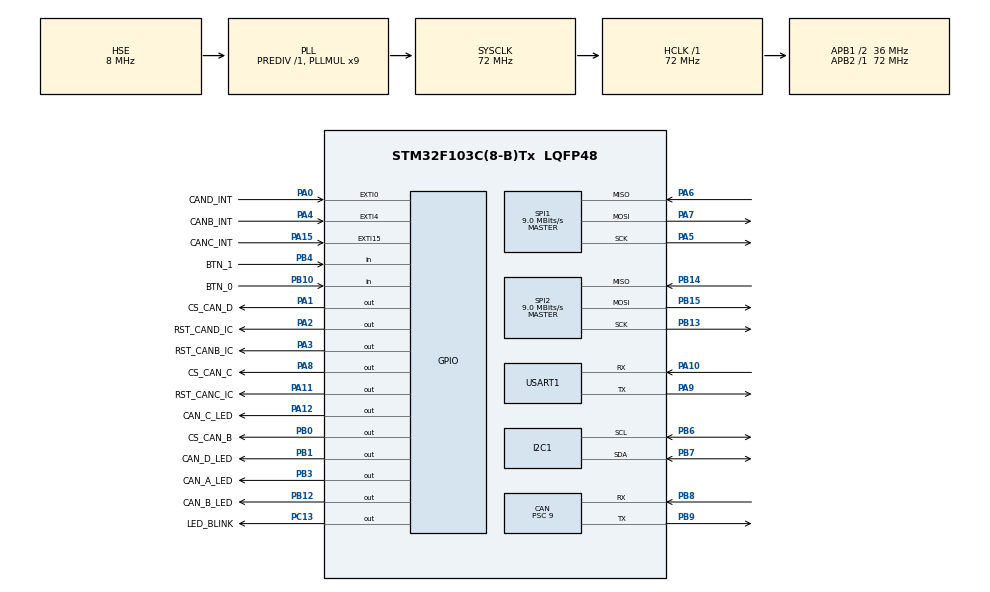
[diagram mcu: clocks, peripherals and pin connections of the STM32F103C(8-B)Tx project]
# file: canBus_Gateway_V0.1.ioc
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CAN.BS1=CAN_BS1_3TQ
CAN.BS2=CAN_BS2_4TQ
CAN.CalculateBaudRate=500000
CAN.CalculateTimeBit=2000
CAN.CalculateTimeQuantum=250.0
CAN.Prescaler=9
CAN.SJW=CAN_SJW_2TQ
I2C1.I2C_Mode=I2C_Fast
Mcu.Family=STM32F1
Mcu.Name=STM32F103C(8-B)Tx
Mcu.Package=LQFP48
NVIC.EXTI0_IRQn=true\:0\:0\:false\:false\:true\:true\:true\:true
NVIC.EXTI15_10_IRQn=true\:0\:0\:false\:false\:true\:true\:true\:true
NVIC.EXTI4_IRQn=true\:0\:0\:false\:false\:true\:true\:true\:true
NVIC.PriorityGroup=NVIC_PRIORITYGROUP_4
NVIC.USB_LP_CAN1_RX0_IRQn=true\:0\:0\:false\:false\:true\:true\:true\:true
PA0-WKUP.GPIO_Label=CAND_INT
PA0-WKUP.GPIO_ModeDefaultEXTI=GPIO_MODE_IT_FALLING
PA0-WKUP.Signal=GPXTI0
PA1.GPIO_Label=CS_CAN_D
PA1.PinState=GPIO_PIN_SET
PA1.Signal=GPIO_Output
PA10.Mode=Asynchronous
PA10.Signal=USART1_RX
PA11.GPIO_Label=RST_CANC_IC
PA11.PinState=GPIO_PIN_SET
PA11.Signal=GPIO_Output
PA12.GPIO_Label=CAN_C_LED
PA12.Signal=GPIO_Output
PA13.Mode=Serial_Wire
PA13.Signal=SYS_JTMS-SWDIO
PA14.Mode=Serial_Wire
PA14.Signal=SYS_JTCK-SWCLK
PA15.GPIO_Label=CANC_INT
PA15.GPIO_ModeDefaultEXTI=GPIO_MODE_IT_FALLING
PA15.Signal=GPXTI15
PA2.GPIO_Label=RST_CAND_IC
PA2.PinState=GPIO_PIN_SET
PA2.Signal=GPIO_Output
PA3.GPIO_Label=RST_CANB_IC
PA3.PinState=GPIO_PIN_SET
PA3.Signal=GPIO_Output
PA4.GPIO_Label=CANB_INT
PA4.GPIO_ModeDefaultEXTI=GPIO_MODE_IT_FALLING
PA4.Signal=GPXTI4
PA5.Mode=Full_Duplex_Master
PA5.Signal=SPI1_SCK
PA6.Mode=Full_Duplex_Master
PA6.Signal=SPI1_MISO
PA7.Mode=Full_Duplex_Master
PA7.Signal=SPI1_MOSI
PA8.GPIO_Label=CS_CAN_C
PA8.PinState=GPIO_PIN_SET
PA8.Signal=GPIO_Output
PA9.Mode=Asynchronous
PA9.Signal=USART1_TX
PB0.GPIO_Label=CS_CAN_B
PB0.PinState=GPIO_PIN_SET
PB0.Signal=GPIO_Output
PB1.GPIO_Label=CAN_D_LED
PB1.Signal=GPIO_Output
PB10.GPIO_Label=BTN_0
PB10.Signal=GPIO_Input
PB12.GPIO_Label=CAN_B_LED
PB12.Signal=GPIO_Output
PB13.Mode=Full_Duplex_Master
PB13.Signal=SPI2_SCK
PB14.Mode=Full_Duplex_Master
PB14.Signal=SPI2_MISO
PB15.Mode=Full_Duplex_Master
PB15.Signal=SPI2_MOSI
PB3.GPIO_Label=CAN_A_LED
PB3.Signal=GPIO_Output
PB4.GPIO_Label=BTN_1
PB4.Signal=GPIO_Input
PB6.Mode=I2C
PB6.Signal=I2C1_SCL
PB7.Mode=I2C
PB7.Signal=I2C1_SDA
PB8.Mode=CAN_Activate
PB8.Signal=CAN_RX
PB9.Mode=CAN_Activate
PB9.Signal=CAN_TX
PC13-TAMPER-RTC.GPIO_Label=LED_BLINK
PC13-TAMPER-RTC.Signal=GPIO_Output
PD0-OSC_IN.Mode=HSE-External-Oscillator
PD0-OSC_IN.Signal=RCC_OSC_IN
PD1-OSC_OUT.Mode=HSE-External-Oscillator
PD1-OSC_OUT.Signal=RCC_OSC_OUT
ProjectManager.HeapSize=0x200
ProjectManager.StackSize=0x400
ProjectManager.TargetToolchain=STM32CubeIDE
RCC.AHBFreq_Value=72000000
RCC.APB1CLKDivider=RCC_HCLK_DIV2
RCC.APB1Freq_Value=36000000
RCC.APB1TimFreq_Value=72000000
RCC.APB2Freq_Value=72000000
RCC.APB2TimFreq_Value=72000000
RCC.HCLKFreq_Value=72000000
RCC.PLLMUL=RCC_PLL_MUL9
RCC.PLLSourceVirtual=RCC_PLLSOURCE_HSE
RCC.SYSCLKFreq_VALUE=72000000
RCC.SYSCLKSource=RCC_SYSCLKSOURCE_PLLCLK
RCC.USBFreq_Value=72000000
SPI1.BaudRatePrescaler=SPI_BAUDRATEPRESCALER_8
SPI1.CalculateBaudRate=9.0 MBits/s
SPI1.Direction=SPI_DIRECTION_2LINES
SPI1.Mode=SPI_MODE_MASTER
SPI1.VirtualType=VM_MASTER
SPI2.BaudRatePrescaler=SPI_BAUDRATEPRESCALER_4
SPI2.CalculateBaudRate=9.0 MBits/s
SPI2.Direction=SPI_DIRECTION_2LINES
SPI2.Mode=SPI_MODE_MASTER
SPI2.VirtualType=VM_MASTER
USART1.VirtualMode=VM_ASYNC
board=custom

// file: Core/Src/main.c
/* USER CODE BEGIN Header */
/**
  ******************************************************************************
  * @file           : main.c
  * @brief          : Main program body
  ******************************************************************************
  * @attention
  *
  * Copyright (c) 2023 STMicroelectronics.
  * All rights reserved.
  *
  * This software is licensed under terms that can be found in the LICENSE file
  * in the root directory of this software component.
  * If no LICENSE file comes with this software, it is provided AS-IS.
  *
  ******************************************************************************
  */
/* USER CODE END Header */
#include "main.h"

/* USER CODE BEGIN Includes */
#include "debug.h"
#include "torkTypes.h"
#include "basicApp.h"
#include "24lc01Eeprom.h"
#include "mcp2515_hardware.h"
#include "mcp2515_drv.h"

/* USER CODE END Includes */

/* USER CODE BEGIN PTD */
typedef struct CanMsg__Struct
{
  unsigned long  canMsgId;
  unsigned char  ext;
  unsigned char  rtr;
  unsigned char  len;
  unsigned char  dataBuf[8];
}torkCanMsg;
/* USER CODE END PTD */

CAN_HandleTypeDef hcan;

I2C_HandleTypeDef hi2c1;

SPI_HandleTypeDef hspi1;
SPI_HandleTypeDef hspi2;

UART_HandleTypeDef huart1;

/* USER CODE BEGIN PV */
// for led blink
uint32_t period_of_led_blink = _1_SECOND;
uint32_t last_time = 0;

// for CanA comm
CAN_TxHeaderTypeDef txHeader;  //CAN Bus Receive Header
CAN_RxHeaderTypeDef rxHeader;  //CAN Bus Receive Header
CAN_FilterTypeDef canfil;      //CAN Bus Filter
uint32_t canMailbox;           //CAN Bus Mail box variable

// irq flags
volatile uint8_t isCAN_A_RXed = 0;
volatile uint8_t isCAN_B_RXed = 0;
volatile uint8_t isCAN_C_RXed = 0;
volatile uint8_t isCAN_D_RXed = 0;

//... for test
torkCanMsg tmpCanMsg;//... for test

/* USER CODE END PV */

void SystemClock_Config(void);
static void MX_GPIO_Init(void);
static void MX_USART1_UART_Init(void);
static void MX_CAN_Init(void);
static void MX_I2C1_Init(void);
static void MX_SPI1_Init(void);
static void MX_SPI2_Init(void);

int main(void)
{

  /* MCU Configuration--------------------------------------------------------*/

  /* Reset of all peripherals, Initializes the Flash interface and the Systick. */
  HAL_Init();

  /* Configure the system clock */
  SystemClock_Config();

  /* Initialize all configured peripherals */
  MX_GPIO_Init();
  MX_USART1_UART_Init();
  MX_CAN_Init();
  MX_I2C1_Init();
  MX_SPI1_Init();
  MX_SPI2_Init();
  /* USER CODE BEGIN 2 */
  debugPrint("/* USER CODE BEGIN 2 */\n");

  Init_CanA();
  Init_Eeprom();
  Init_CanB();
  Init_CanC();
  Init_CanD();

  debugPrint("/* USER CODE  END  2 */\n");
  /* USER CODE END 2 */

  /* Infinite loop */
  /* USER CODE BEGIN WHILE */
  while (1)
  {
	  if(isCAN_A_RXed == 1)
	  {
		  isCAN_A_RXed = 0;

		  debugPrint("AAA\n");
	  }

	  if(isCAN_B_RXed == 1)
	  {
		  isCAN_B_RXed = 0;

		  debugPrint("BBB\n");
	  }

	  if(isCAN_C_RXed == 1)
	  {
		  isCAN_C_RXed = 0;

		  debugPrint("CCC\n");
	  }

	  if(isCAN_D_RXed == 1)
	  {
		  isCAN_D_RXed = 0;

		  debugPrint("DDD\n");
	  }

    /* USER CODE END WHILE */

    /* USER CODE BEGIN 3 */
	  if(HAL_GetTick() - last_time > period_of_led_blink)
	  {
		  last_time = HAL_GetTick();

		  HAL_GPIO_TogglePin(LED_BLINK_GPIO_Port, LED_BLINK_Pin);
	  }
  }
  /* USER CODE END 3 */
}

void SystemClock_Config(void)
{
  RCC_OscInitTypeDef RCC_OscInitStruct = {0};
  RCC_ClkInitTypeDef RCC_ClkInitStruct = {0};

  /** Initializes the RCC Oscillators according to the specified parameters
  * in the RCC_OscInitTypeDef structure.
  */
  RCC_OscInitStruct.OscillatorType = RCC_OSCILLATORTYPE_HSE;
  RCC_OscInitStruct.HSEState = RCC_HSE_ON;
  RCC_OscInitStruct.HSEPredivValue = RCC_HSE_PREDIV_DIV1;
  RCC_OscInitStruct.HSIState = RCC_HSI_ON;
  RCC_OscInitStruct.PLL.PLLState = RCC_PLL_ON;
  RCC_OscInitStruct.PLL.PLLSource = RCC_PLLSOURCE_HSE;
  RCC_OscInitStruct.PLL.PLLMUL = RCC_PLL_MUL9;
  if (HAL_RCC_OscConfig(&RCC_OscInitStruct) != HAL_OK)
  {
    Error_Handler();
  }

  /** Initializes the CPU, AHB and APB buses clocks
  */
  RCC_ClkInitStruct.ClockType = RCC_CLOCKTYPE_HCLK|RCC_CLOCKTYPE_SYSCLK
                              |RCC_CLOCKTYPE_PCLK1|RCC_CLOCKTYPE_PCLK2;
  RCC_ClkInitStruct.SYSCLKSource = RCC_SYSCLKSOURCE_PLLCLK;
  RCC_ClkInitStruct.AHBCLKDivider = RCC_SYSCLK_DIV1;
  RCC_ClkInitStruct.APB1CLKDivider = RCC_HCLK_DIV2;
  RCC_ClkInitStruct.APB2CLKDivider = RCC_HCLK_DIV1;

  if (HAL_RCC_ClockConfig(&RCC_ClkInitStruct, FLASH_LATENCY_2) != HAL_OK)
  {
    Error_Handler();
  }
}

static void MX_CAN_Init(void)
{

  hcan.Instance = CAN1;
  hcan.Init.Prescaler = 9;
  hcan.Init.Mode = CAN_MODE_NORMAL;
  hcan.Init.SyncJumpWidth = CAN_SJW_2TQ;
  hcan.Init.TimeSeg1 = CAN_BS1_3TQ;
  hcan.Init.TimeSeg2 = CAN_BS2_4TQ;
  hcan.Init.TimeTriggeredMode = DISABLE;
  hcan.Init.AutoBusOff = DISABLE;
  hcan.Init.AutoWakeUp = DISABLE;
  hcan.Init.AutoRetransmission = DISABLE;
  hcan.Init.ReceiveFifoLocked = DISABLE;
  hcan.Init.TransmitFifoPriority = DISABLE;
  if (HAL_CAN_Init(&hcan) != HAL_OK)
  {
    Error_Handler();
  }

}

static void MX_I2C1_Init(void)
{

  hi2c1.Instance = I2C1;
  hi2c1.Init.ClockSpeed = 400000;
  hi2c1.Init.DutyCycle = I2C_DUTYCYCLE_2;
  hi2c1.Init.OwnAddress1 = 0;
  hi2c1.Init.AddressingMode = I2C_ADDRESSINGMODE_7BIT;
  hi2c1.Init.DualAddressMode = I2C_DUALADDRESS_DISABLE;
  hi2c1.Init.OwnAddress2 = 0;
  hi2c1.Init.GeneralCallMode = I2C_GENERALCALL_DISABLE;
  hi2c1.Init.NoStretchMode = I2C_NOSTRETCH_DISABLE;
  if (HAL_I2C_Init(&hi2c1) != HAL_OK)
  {
    Error_Handler();
  }

}

static void MX_SPI1_Init(void)
{

  /* SPI1 parameter configuration*/
  hspi1.Instance = SPI1;
  hspi1.Init.Mode = SPI_MODE_MASTER;
  hspi1.Init.Direction = SPI_DIRECTION_2LINES;
  hspi1.Init.DataSize = SPI_DATASIZE_8BIT;
  hspi1.Init.CLKPolarity = SPI_POLARITY_LOW;
  hspi1.Init.CLKPhase = SPI_PHASE_1EDGE;
  hspi1.Init.NSS = SPI_NSS_SOFT;
  hspi1.Init.BaudRatePrescaler = SPI_BAUDRATEPRESCALER_8;
  hspi1.Init.FirstBit = SPI_FIRSTBIT_MSB;
  hspi1.Init.TIMode = SPI_TIMODE_DISABLE;
  hspi1.Init.CRCCalculation = SPI_CRCCALCULATION_DISABLE;
  hspi1.Init.CRCPolynomial = 10;
  if (HAL_SPI_Init(&hspi1) != HAL_OK)
  {
    Error_Handler();
  }

}

static void MX_SPI2_Init(void)
{

  /* SPI2 parameter configuration*/
  hspi2.Instance = SPI2;
  hspi2.Init.Mode = SPI_MODE_MASTER;
  hspi2.Init.Direction = SPI_DIRECTION_2LINES;
  hspi2.Init.DataSize = SPI_DATASIZE_8BIT;
  hspi2.Init.CLKPolarity = SPI_POLARITY_LOW;
  hspi2.Init.CLKPhase = SPI_PHASE_1EDGE;
  hspi2.Init.NSS = SPI_NSS_SOFT;
  hspi2.Init.BaudRatePrescaler = SPI_BAUDRATEPRESCALER_4;
  hspi2.Init.FirstBit = SPI_FIRSTBIT_MSB;
  hspi2.Init.TIMode = SPI_TIMODE_DISABLE;
  hspi2.Init.CRCCalculation = SPI_CRCCALCULATION_DISABLE;
  hspi2.Init.CRCPolynomial = 10;
  if (HAL_SPI_Init(&hspi2) != HAL_OK)
  {
    Error_Handler();
  }

}

static void MX_USART1_UART_Init(void)
{

  huart1.Instance = USART1;
  huart1.Init.BaudRate = 115200;
  huart1.Init.WordLength = UART_WORDLENGTH_8B;
  huart1.Init.StopBits = UART_STOPBITS_1;
  huart1.Init.Parity = UART_PARITY_NONE;
  huart1.Init.Mode = UART_MODE_TX_RX;
  huart1.Init.HwFlowCtl = UART_HWCONTROL_NONE;
  huart1.Init.OverSampling = UART_OVERSAMPLING_16;
  if (HAL_UART_Init(&huart1) != HAL_OK)
  {
    Error_Handler();
  }

}

static void MX_GPIO_Init(void)
{
  GPIO_InitTypeDef GPIO_InitStruct = {0};

  /* GPIO Ports Clock Enable */
  __HAL_RCC_GPIOC_CLK_ENABLE();
  __HAL_RCC_GPIOD_CLK_ENABLE();
  __HAL_RCC_GPIOA_CLK_ENABLE();
  __HAL_RCC_GPIOB_CLK_ENABLE();

  /*Configure GPIO pin Output Level */
  HAL_GPIO_WritePin(LED_BLINK_GPIO_Port, LED_BLINK_Pin, GPIO_PIN_RESET);

  /*Configure GPIO pin Output Level */
  HAL_GPIO_WritePin(GPIOA, CS_CAN_D_Pin|RST_CAND_IC_Pin|RST_CANB_IC_Pin|CS_CAN_C_Pin
                          |RST_CANC_IC_Pin, GPIO_PIN_SET);

  /*Configure GPIO pin Output Level */
  HAL_GPIO_WritePin(CS_CAN_B_GPIO_Port, CS_CAN_B_Pin, GPIO_PIN_SET);

  /*Configure GPIO pin Output Level */
  HAL_GPIO_WritePin(GPIOB, CAN_D_LED_Pin|CAN_B_LED_Pin|CAN_A_LED_Pin, GPIO_PIN_RESET);

  /*Configure GPIO pin Output Level */
  HAL_GPIO_WritePin(CAN_C_LED_GPIO_Port, CAN_C_LED_Pin, GPIO_PIN_RESET);

  /*Configure GPIO pin : LED_BLINK_Pin */
  GPIO_InitStruct.Pin = LED_BLINK_Pin;
  GPIO_InitStruct.Mode = GPIO_MODE_OUTPUT_PP;
  GPIO_InitStruct.Pull = GPIO_NOPULL;
  GPIO_InitStruct.Speed = GPIO_SPEED_FREQ_LOW;
  HAL_GPIO_Init(LED_BLINK_GPIO_Port, &GPIO_InitStruct);

  /*Configure GPIO pins : CAND_INT_Pin CANB_INT_Pin CANC_INT_Pin */
  GPIO_InitStruct.Pin = CAND_INT_Pin|CANB_INT_Pin|CANC_INT_Pin;
  GPIO_InitStruct.Mode = GPIO_MODE_IT_FALLING;
  GPIO_InitStruct.Pull = GPIO_NOPULL;
  HAL_GPIO_Init(GPIOA, &GPIO_InitStruct);

  /*Configure GPIO pins : CS_CAN_D_Pin RST_CAND_IC_Pin RST_CANB_IC_Pin CS_CAN_C_Pin
                           RST_CANC_IC_Pin CAN_C_LED_Pin */
  GPIO_InitStruct.Pin = CS_CAN_D_Pin|RST_CAND_IC_Pin|RST_CANB_IC_Pin|CS_CAN_C_Pin
                          |RST_CANC_IC_Pin|CAN_C_LED_Pin;
  GPIO_InitStruct.Mode = GPIO_MODE_OUTPUT_PP;
  GPIO_InitStruct.Pull = GPIO_NOPULL;
  GPIO_InitStruct.Speed = GPIO_SPEED_FREQ_LOW;
  HAL_GPIO_Init(GPIOA, &GPIO_InitStruct);

  /*Configure GPIO pins : CS_CAN_B_Pin CAN_D_LED_Pin CAN_B_LED_Pin CAN_A_LED_Pin */
  GPIO_InitStruct.Pin = CS_CAN_B_Pin|CAN_D_LED_Pin|CAN_B_LED_Pin|CAN_A_LED_Pin;
  GPIO_InitStruct.Mode = GPIO_MODE_OUTPUT_PP;
  GPIO_InitStruct.Pull = GPIO_NOPULL;
  GPIO_InitStruct.Speed = GPIO_SPEED_FREQ_LOW;
  HAL_GPIO_Init(GPIOB, &GPIO_InitStruct);

  /*Configure GPIO pins : BTN_0_Pin BTN_1_Pin */
  GPIO_InitStruct.Pin = BTN_0_Pin|BTN_1_Pin;
  GPIO_InitStruct.Mode = GPIO_MODE_INPUT;
  GPIO_InitStruct.Pull = GPIO_NOPULL;
  HAL_GPIO_Init(GPIOB, &GPIO_InitStruct);

  /* EXTI interrupt init*/
  HAL_NVIC_SetPriority(EXTI0_IRQn, 0, 0);
  HAL_NVIC_EnableIRQ(EXTI0_IRQn);

  HAL_NVIC_SetPriority(EXTI4_IRQn, 0, 0);
  HAL_NVIC_EnableIRQ(EXTI4_IRQn);

  HAL_NVIC_SetPriority(EXTI15_10_IRQn, 0, 0);
  HAL_NVIC_EnableIRQ(EXTI15_10_IRQn);

}

/* USER CODE BEGIN 4 */
void HAL_GPIO_EXTI_Callback(uint16_t GPIO_Pin)
{
	if(GPIO_Pin == CANB_INT_Pin)
	{
		isCAN_B_RXed = 1;
		HAL_GPIO_TogglePin(CAN_B_LED_GPIO_Port, CAN_B_LED_Pin);
	}
	else if(GPIO_Pin == CANC_INT_Pin)
	{
		isCAN_C_RXed = 1;
		HAL_GPIO_TogglePin(CAN_C_LED_GPIO_Port, CAN_C_LED_Pin);
	}
	else if(GPIO_Pin == CAND_INT_Pin)
	{
		isCAN_D_RXed = 1;
		HAL_GPIO_TogglePin(CAN_D_LED_GPIO_Port, CAN_D_LED_Pin);
	}
}

void HAL_CAN_RxFifo0MsgPendingCallback(CAN_HandleTypeDef *hcan)
{
	if(HAL_CAN_GetRxMessage(hcan, CAN_RX_FIFO0, &rxHeader, tmpCanMsg.dataBuf) != HAL_OK)
	{
		debugPrint("fail CAN A RX \n");
		Error_Handler();
	}
	isCAN_A_RXed = 1;
}
/* USER CODE END 4 */

void Error_Handler(void)
{
  __disable_irq();
  while (1)
  {
  }
}
